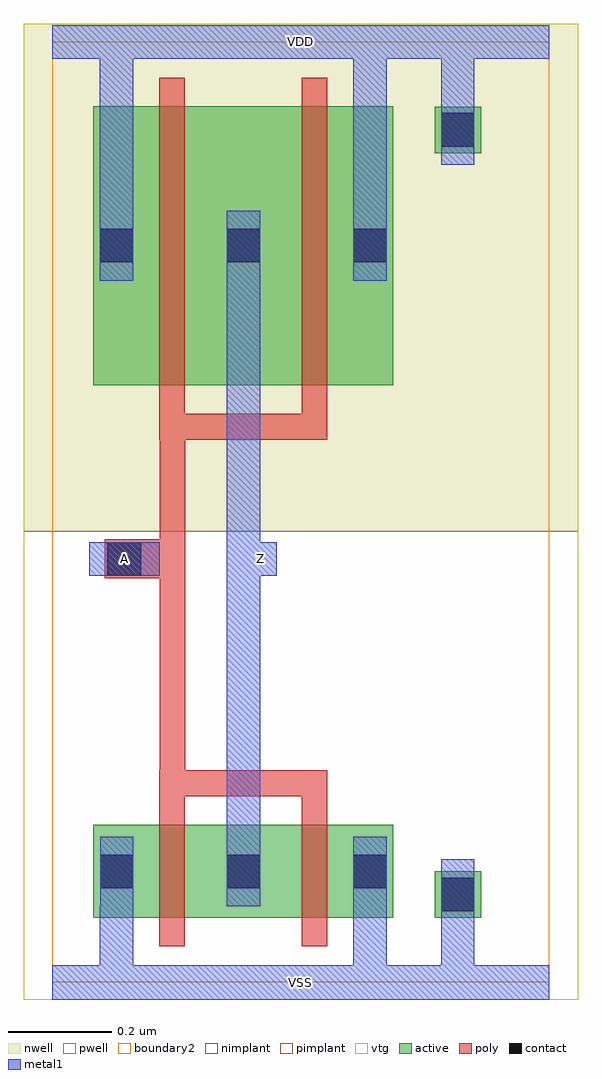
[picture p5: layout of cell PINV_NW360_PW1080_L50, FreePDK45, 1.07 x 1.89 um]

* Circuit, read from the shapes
.subckt PINV_NW360_PW1080_L50 A VDD VSS Z
M1 Z A VSS VSS nfet w=0.18u l=0.05u
M2 VSS A Z VSS nfet w=0.18u l=0.049u
M3 Z A VDD VDD pfet w=0.54u l=0.05u
M4 VDD A Z VDD pfet w=0.54u l=0.049u
.ends

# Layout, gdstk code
import gdstk
lib = gdstk.Library(unit=1e-6, precision=1e-09)
def R(c, l, rs):  # rectangles x0, y0, x1, y1
    for r in rs: c.add(gdstk.rectangle(r[:2], r[2:], *l))
active = (1, 0)
pwell = (2, 0)
nwell = (3, 0)
nimplant = (4, 0)
pimplant = (5, 0)
vtg = (6, 0)
poly = (9, 0)
contact = (10, 0)
metal1 = (11, 0)
boundary2 = (239, 0)

transmission_gate_nw250_ = lib.new_cell('TRANSMISSION_GATE_NW250_PW500_L50_contact_8')
R(transmission_gate_nw250_, active, [(0,0.022,0.09,0.112)])
R(transmission_gate_nw250_, nwell, [(-0.055,-0.033,0.145,0.168)])
R(transmission_gate_nw250_, pimplant, [(0,0.022,0.09,0.112)])
R(transmission_gate_nw250_, contact, [(0.013,0.035,0.077,0.1)])
R(transmission_gate_nw250_, metal1, [(0.013,0,0.077,0.135)])
R(transmission_gate_nw250_, boundary2, [(-0.055,-0.033,0.145,0.168)])

pinv_nw360_pw1080_l50_pm = lib.new_cell('PINV_NW360_PW1080_L50_pmos_m2_w0_540_sm1_dm1_da_p')
R(pinv_nw360_pw1080_l50_pm, active, [(0,0,0.58,0.54)])
R(pinv_nw360_pw1080_l50_pm, nwell, [(-0.08,-0.08,0.66,0.62)])
R(pinv_nw360_pw1080_l50_pm, pimplant, [(0,0,0.58,0.54)])
R(pinv_nw360_pw1080_l50_pm, vtg, [(-0.08,-0.08,0.66,0.62)])
R(pinv_nw360_pw1080_l50_pm, poly, [(0.127,-0.105,0.452,-0.055), (0.127,-0.055,0.177,0.595), (0.403,-0.055,0.452,0.595)])
R(pinv_nw360_pw1080_l50_pm, metal1, [(0.013,0.203,0.077,0.338), (0.258,0.203,0.323,0.338), (0.503,0.203,0.567,0.338)])
R(pinv_nw360_pw1080_l50_pm, boundary2, [(-0.08,-0.105,0.66,0.62)])
pinv_nw360_pw1080_l50_pm.add(gdstk.Reference(transmission_gate_nw250_, (0,0.203)))
pinv_nw360_pw1080_l50_pm.add(gdstk.Reference(transmission_gate_nw250_, (0.245,0.203)))
pinv_nw360_pw1080_l50_pm.add(gdstk.Reference(transmission_gate_nw250_, (0.49,0.203)))
pinv_nw360_pw1080_l50_pm.add(gdstk.Label('G', (0.29,-0.08), layer=9, texttype=0))
pinv_nw360_pw1080_l50_pm.add(gdstk.Label('S', (0.535,0.27), layer=11, texttype=0))
pinv_nw360_pw1080_l50_pm.add(gdstk.Label('S', (0.045,0.27), layer=11, texttype=0))
pinv_nw360_pw1080_l50_pm.add(gdstk.Label('D', (0.29,0.27), layer=11, texttype=0))

c_transmission_gate_nw250_ = lib.new_cell('TRANSMISSION_GATE_NW250_PW500_L50_contact_7')
R(c_transmission_gate_nw250_, active, [(0,0.022,0.09,0.112)])
R(c_transmission_gate_nw250_, pwell, [(-0.055,-0.033,0.145,0.168)])
R(c_transmission_gate_nw250_, nimplant, [(0,0.022,0.09,0.112)])
R(c_transmission_gate_nw250_, contact, [(0.013,0.035,0.077,0.1)])
R(c_transmission_gate_nw250_, metal1, [(0.013,0,0.077,0.135)])
R(c_transmission_gate_nw250_, boundary2, [(-0.055,-0.033,0.145,0.168)])

pinv_nw360_pw1080_l50_nm = lib.new_cell('PINV_NW360_PW1080_L50_nmos_m2_w0_180_sm1_dm1_da_p')
R(pinv_nw360_pw1080_l50_nm, active, [(0,0,0.58,0.18)])
R(pinv_nw360_pw1080_l50_nm, pwell, [(-0.08,-0.08,0.66,0.26)])
R(pinv_nw360_pw1080_l50_nm, nimplant, [(0,0,0.58,0.18)])
R(pinv_nw360_pw1080_l50_nm, vtg, [(-0.08,-0.08,0.66,0.26)])
R(pinv_nw360_pw1080_l50_nm, poly, [(0.127,-0.055,0.177,0.235), (0.403,-0.055,0.452,0.235), (0.127,0.235,0.452,0.285)])
R(pinv_nw360_pw1080_l50_nm, metal1, [(0.013,0.022,0.077,0.157), (0.258,0.022,0.323,0.157), (0.503,0.022,0.567,0.157)])
R(pinv_nw360_pw1080_l50_nm, boundary2, [(-0.08,-0.08,0.66,0.285)])
pinv_nw360_pw1080_l50_nm.add(gdstk.Reference(c_transmission_gate_nw250_, (0,0.022)))
pinv_nw360_pw1080_l50_nm.add(gdstk.Reference(c_transmission_gate_nw250_, (0.245,0.022)))
pinv_nw360_pw1080_l50_nm.add(gdstk.Reference(c_transmission_gate_nw250_, (0.49,0.022)))
pinv_nw360_pw1080_l50_nm.add(gdstk.Label('G', (0.29,0.26), layer=9, texttype=0))
pinv_nw360_pw1080_l50_nm.add(gdstk.Label('S', (0.535,0.09), layer=11, texttype=0))
pinv_nw360_pw1080_l50_nm.add(gdstk.Label('S', (0.045,0.09), layer=11, texttype=0))
pinv_nw360_pw1080_l50_nm.add(gdstk.Label('D', (0.29,0.09), layer=11, texttype=0))

c_transmission_gate_nw250__ = lib.new_cell('TRANSMISSION_GATE_NW250_PW500_L50_contact_9')
R(c_transmission_gate_nw250__, active, [(0,0.022,0.09,0.112)])
R(c_transmission_gate_nw250__, nwell, [(-0.055,-0.033,0.145,0.168)])
R(c_transmission_gate_nw250__, nimplant, [(0,0.022,0.09,0.112)])
R(c_transmission_gate_nw250__, contact, [(0.013,0.035,0.077,0.1)])
R(c_transmission_gate_nw250__, metal1, [(0.013,0,0.077,0.135)])
R(c_transmission_gate_nw250__, boundary2, [(-0.055,-0.033,0.145,0.168)])

c_transmission_gate_nw250___ = lib.new_cell('TRANSMISSION_GATE_NW250_PW500_L50_contact_10')
R(c_transmission_gate_nw250___, active, [(0,0.022,0.09,0.112)])
R(c_transmission_gate_nw250___, pwell, [(-0.055,-0.033,0.145,0.168)])
R(c_transmission_gate_nw250___, pimplant, [(0,0.022,0.09,0.112)])
R(c_transmission_gate_nw250___, contact, [(0.013,0.035,0.077,0.1)])
R(c_transmission_gate_nw250___, metal1, [(0.013,0,0.077,0.135)])
R(c_transmission_gate_nw250___, boundary2, [(-0.055,-0.033,0.145,0.168)])

pinv_nw180_pw270_l50_con = lib.new_cell('PINV_NW180_PW270_L50_contact_11')
R(pinv_nw180_pw270_l50_con, poly, [(0.03,0,0.105,0.075)])
R(pinv_nw180_pw270_l50_con, contact, [(0.035,0.005,0.1,0.07)])
R(pinv_nw180_pw270_l50_con, metal1, [(0,0.005,0.135,0.07)])
R(pinv_nw180_pw270_l50_con, boundary2, [(0,0,0.135,0.075)])

pinv_nw360_pw1080_l50_co = lib.new_cell('PINV_NW360_PW1080_L50_core')
R(pinv_nw360_pw1080_l50_co, pwell, [(-0.055,-0.033,1.018,0.873)])
R(pinv_nw360_pw1080_l50_co, nwell, [(-0.055,0.873,1.018,1.855)])
R(pinv_nw360_pw1080_l50_co, vtg, [(-0.055,-0.033,1.018,0.873), (-0.055,0.873,1.018,1.855)])
R(pinv_nw360_pw1080_l50_co, poly, [(0.208,0.41,0.258,1.05), (0.14,0.782,0.208,0.857)])
R(pinv_nw360_pw1080_l50_co, metal1, [(0,-0.033,0.962,0.033), (0.092,-0.033,0.157,0.147), (0.583,-0.033,0.647,0.147), (0.753,0,0.817,0.17), (0.338,0.147,0.403,1.492), (0.072,0.787,0.208,0.852), (0.37,0.787,0.435,0.852), (0.092,1.357,0.157,1.852), (0.583,1.357,0.647,1.852), (0.753,1.65,0.817,1.82), (0,1.787,0.962,1.852)])
R(pinv_nw360_pw1080_l50_co, boundary2, [(0,0,0.962,1.82), (0,0,0.962,1.82)])
pinv_nw360_pw1080_l50_co.add(gdstk.Reference(pinv_nw360_pw1080_l50_pm, (0.08,1.155)))
pinv_nw360_pw1080_l50_co.add(gdstk.Reference(pinv_nw360_pw1080_l50_nm, (0.08,0.125)))
pinv_nw360_pw1080_l50_co.add(gdstk.Reference(c_transmission_gate_nw250__, (0.74,1.582)))
pinv_nw360_pw1080_l50_co.add(gdstk.Reference(c_transmission_gate_nw250___, (0.74,0.103)))
pinv_nw360_pw1080_l50_co.add(gdstk.Reference(pinv_nw180_pw270_l50_con, (0.072,0.782)))
pinv_nw360_pw1080_l50_co.add(gdstk.Label('A', (0.14,0.82), layer=11, texttype=0))
pinv_nw360_pw1080_l50_co.add(gdstk.Label('Z', (0.403,0.82), layer=11, texttype=0))
pinv_nw360_pw1080_l50_co.add(gdstk.Label('gnd', (0.481,0), layer=11, texttype=0))
pinv_nw360_pw1080_l50_co.add(gdstk.Label('vdd', (0.481,1.82), layer=11, texttype=0))

pinv_nw360_pw1080_l50 = lib.new_cell('PINV_NW360_PW1080_L50')
R(pinv_nw360_pw1080_l50, metal1, [(0,-0.033,0.962,0.033), (0.072,0.787,0.208,0.852), (0.37,0.787,0.435,0.852), (0,1.787,0.962,1.852)])
R(pinv_nw360_pw1080_l50, boundary2, [(0,0,0.962,1.82)])
pinv_nw360_pw1080_l50.add(gdstk.Reference(pinv_nw360_pw1080_l50_co, (0,0)))
pinv_nw360_pw1080_l50.add(gdstk.Label('A', (0.14,0.82), layer=11, texttype=0))
pinv_nw360_pw1080_l50.add(gdstk.Label('Z', (0.403,0.82), layer=11, texttype=0))
pinv_nw360_pw1080_l50.add(gdstk.Label('VDD', (0.481,1.82), layer=11, texttype=0))
pinv_nw360_pw1080_l50.add(gdstk.Label('VSS', (0.481,0), layer=11, texttype=0))

lib.write_gds('PINV_NW360_PW1080_L50.gds')
